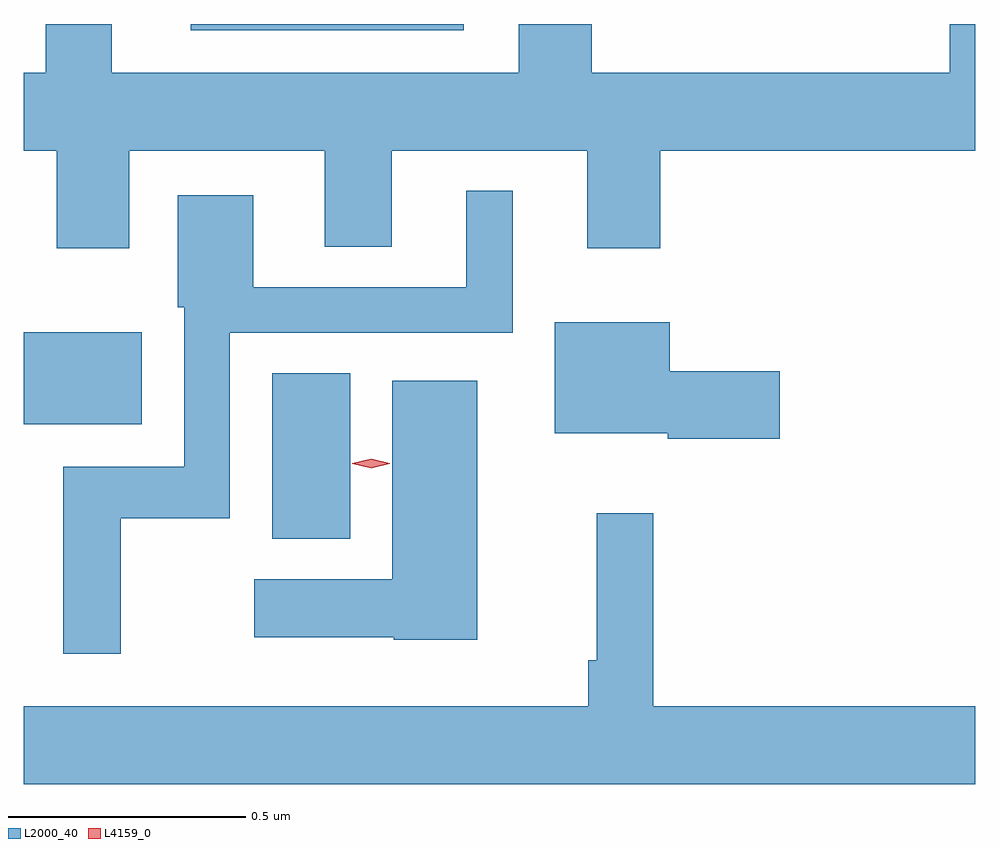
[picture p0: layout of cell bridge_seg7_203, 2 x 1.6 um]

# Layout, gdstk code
import gdstk
lib = gdstk.Library(unit=1e-6, precision=1e-09)
def R(c, l, rs):  # rectangles x0, y0, x1, y1
    for r in rs: c.add(gdstk.rectangle(r[:2], r[2:], *l))
def P(c, l, *ps):  # polygons
    for p in ps: c.add(gdstk.Polygon(p, *l))
L2000_40 = (2000, 40)
L4159_0 = (4159, 0)

bridge_seg7_203 = lib.new_cell('bridge_seg7_203')
R(bridge_seg7_203, L2000_40, [(550.046,1021.112,550.21,1021.46), (549.524,1021.352,549.772,1021.546), (549.875,1022.181,550.449,1022.194)])
P(bridge_seg7_203, L2000_40, [(549.745,1021.928),(550.157,1021.928),(550.157,1021.726),(550.297,1021.726),(550.297,1021.928),(550.709,1021.928),(550.709,1021.722),(550.862,1021.722),(550.862,1021.928),(551.524,1021.928),(551.524,1022.194),(551.471,1022.194),(551.471,1022.092),(550.718,1022.092),(550.718,1022.194),(550.565,1022.194),(550.565,1022.092),(549.709,1022.092),(549.709,1022.194),(549.57,1022.194),(549.57,1022.092),(549.524,1022.092),(549.524,1021.928),(549.593,1021.928),(549.593,1021.722),(549.745,1021.722)],
  [(549.728,1021.155),(549.957,1021.155),(549.957,1021.545),(550.552,1021.545),(550.552,1021.843),(550.454,1021.843),(550.454,1021.641),(550.006,1021.641),(550.006,1021.834),(549.848,1021.834),(549.848,1021.598),(549.861,1021.598),(549.861,1021.263),(549.607,1021.263),(549.607,1020.87),(549.728,1020.87)],
  [(551.113,1021.464),(550.882,1021.464),(550.882,1021.567),(550.64,1021.567),(550.64,1021.334),(550.878,1021.334),(550.878,1021.322),(551.113,1021.322)],
  [(550.477,1021.444),(550.298,1021.444),(550.298,1021.027),(550.008,1021.027),(550.008,1020.905),(550.302,1020.905),(550.302,1020.899),(550.477,1020.899)],
  [(551.524,1020.76),(550.847,1020.76),(550.847,1021.165),(550.729,1021.165),(550.729,1020.856),(550.711,1020.856),(550.711,1020.76),(549.524,1020.76),(549.524,1020.596),(551.524,1020.596)])
P(bridge_seg7_203, L4159_0, [(550.254,1021.26),(550.214,1021.269),(550.214,1021.27),(550.214,1021.27),(550.254,1021.28),(550.293,1021.27),(550.293,1021.27),(550.293,1021.269)])

lib.write_gds('bridge_seg7_203.gds')
